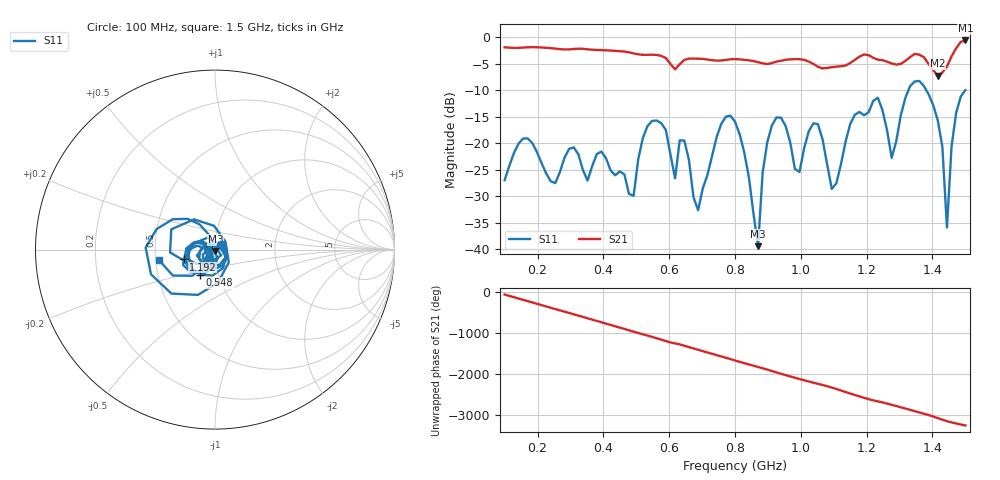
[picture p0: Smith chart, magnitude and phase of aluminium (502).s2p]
! NanoVNA-App
! Date: 2025-09-25 14:59:11
! Start: 100MHz Stop: 1,5GHz Points: 101
! S-Parameter data: F S11 S21 S12 S22
# Hz S RI R 50
!  Frequency  S11_Real  S11_Imag  S21_Real  S21_Imag  S12_Real  S12_Imag  S22_Real  S22_Imag
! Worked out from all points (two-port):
!   101 points, 100 MHz to 1.5 GHz, reference 50 ohm
!   highest |S21| = -0.63 dB at 1.5 GHz (marker M1); lowest = -7.3 dB at 1.416 GHz (marker M2)
!   |S21| within 3 dB of the highest: start of sweep to 579 MHz; 1.458 GHz to end of sweep (the widest 2 of 4)
!   lowest |S11| = -39.4 dB at 870 MHz (marker M3), VSWR 1.02, Z = 50.2 - j1.06 ohm
!   |S11| at or under -10 dB: start of sweep to 1.327 GHz; 1.381 GHz to 1.5 GHz (118.9 MHz wide, 8.26 % of centre)
!   S12 and S22 are empty: the file has one direction only
!   S11 on the Smith chart (normalised r, x): 100 MHz: 1.07, +0.06; 548 MHz: 0.82, -0.24; 1.192 GHz: 0.70, -0.08; 1.5 GHz: 0.52, -0.07
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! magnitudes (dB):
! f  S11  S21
! 100 MHz  -27.0  -1.9
! 156 MHz  -19.1  -2.0
! 338 MHz  -25.1  -2.2
! 492 MHz  -29.9  -3.1
! 548 MHz  -15.8  -3.3
! 576 MHz  -16.2  -3.5
! 646 MHz  -19.5  -4.3
! 688 MHz  -32.6  -4.1
! 800 MHz  -15.9  -4.2
! 870 MHz  -39.4  -4.7
! 912 MHz  -16.7  -4.9
! 996 MHz  -25.4  -4.2
! 1.038 GHz  -16.2  -5.0
! 1.094 GHz  -28.6  -5.7
! 1.192 GHz  -14.7  -3.3
! 1.234 GHz  -11.4  -4.2
! 1.276 GHz  -22.8  -5.0
! 1.346 GHz  -8.4  -3.2
! 1.416 GHz  -15.7  -7.3
! 1.444 GHz  -35.9  -5.5
! 1.458 GHz  -20.6  -3.6
! 1.5 GHz  -10.0  -0.6
